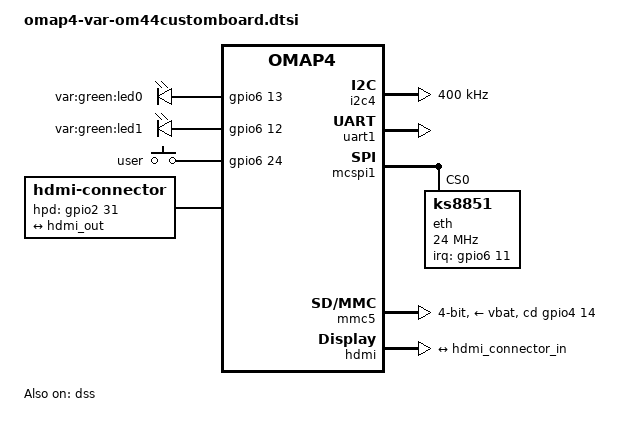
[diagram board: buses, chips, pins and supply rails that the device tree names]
// SPDX-License-Identifier: GPL-2.0-only
/*
 * Copyright (C) 2014 Joachim Eastwood <manabian@gmail.com>
 */

#include <dt-bindings/input/input.h>

/ {
	aliases {
		display0 = &hdmi0;
	};

	leds {
		compatible = "gpio-leds";
		pinctrl-names = "default";
		pinctrl-0 = <&gpio_led_pins>;

		led0 {
			label = "var:green:led0";
			gpios = <&gpio6 13 GPIO_ACTIVE_HIGH>; /* gpio 173 */
			linux,default-trigger = "heartbeat";
		};

		led1 {
			label = "var:green:led1";
			gpios = <&gpio6 12 GPIO_ACTIVE_HIGH>; /* gpio 172 */
		};
	};

	gpio-keys {
		compatible = "gpio-keys";
		pinctrl-names = "default";
		pinctrl-0 = <&gpio_key_pins>;
		#address-cells = <1>;
		#size-cells = <0>;

		user-key@184 {
			label = "user";
			gpios = <&gpio6 24 GPIO_ACTIVE_HIGH>; /* gpio 184 */
			linux,code = <BTN_EXTRA>;
			wakeup-source;
		};
	};

	hdmi0: connector {
		compatible = "hdmi-connector";
		pinctrl-names = "default";
		pinctrl-0 = <&hdmi_hpd_pins>;
		label = "hdmi";
		type = "a";

		hpd-gpios = <&gpio2 31 GPIO_ACTIVE_HIGH>; /* gpio_63 */

		port {
			hdmi_connector_in: endpoint {
				remote-endpoint = <&hdmi_out>;
			};
		};
	};
};

&omap4_pmx_core {
	uart1_pins: uart1-pins {
		pinctrl-single,pins = <
			OMAP4_IOPAD(0x13c, PIN_INPUT_PULLUP | MUX_MODE1)	/* mcspi1_cs2.uart1_cts */
			OMAP4_IOPAD(0x13e, PIN_OUTPUT | MUX_MODE1)		/* mcspi1_cs3.uart1_rts */
			OMAP4_IOPAD(0x126, PIN_INPUT_PULLUP | MUX_MODE1)	/* i2c2_scl.uart1_rx */
			OMAP4_IOPAD(0x128, PIN_OUTPUT | MUX_MODE1)		/* i2c2_sda.uart1_tx */
		>;
	};

	mcspi1_pins: mcspi1-pins {
		pinctrl-single,pins = <
			OMAP4_IOPAD(0x132, PIN_INPUT | MUX_MODE0)		/*  mcspi1_clk.mcspi1_clk */
			OMAP4_IOPAD(0x134, PIN_INPUT | MUX_MODE0)		/*  mcspi1_somi.mcspi1_somi */
			OMAP4_IOPAD(0x136, PIN_INPUT | MUX_MODE0)		/*  mcspi1_simo.mcspi1_simo */
			OMAP4_IOPAD(0x138, PIN_INPUT | MUX_MODE0)		/*  mcspi1_cs0.mcspi1_cs0 */
		>;
	};

	mcasp_pins: mcsasp-pins {
		pinctrl-single,pins = <
			OMAP4_IOPAD(0x0f8, PIN_OUTPUT | MUX_MODE2)		/*  mcbsp2_dr.abe_mcasp_axr */
		>;
	};

	dss_dpi_pins: dss-dpi-pins {
		pinctrl-single,pins = <
			OMAP4_IOPAD(0x162, PIN_OUTPUT | MUX_MODE5)		/* dispc2_data23 */
			OMAP4_IOPAD(0x164, PIN_OUTPUT | MUX_MODE5)		/* dispc2_data22 */
			OMAP4_IOPAD(0x166, PIN_OUTPUT | MUX_MODE5)		/* dispc2_data21 */
			OMAP4_IOPAD(0x168, PIN_OUTPUT | MUX_MODE5)		/* dispc2_data20 */
			OMAP4_IOPAD(0x16a, PIN_OUTPUT | MUX_MODE5)		/* dispc2_data19 */
			OMAP4_IOPAD(0x16c, PIN_OUTPUT | MUX_MODE5)		/* dispc2_data18 */
			OMAP4_IOPAD(0x16e, PIN_OUTPUT | MUX_MODE5)		/* dispc2_data15 */
			OMAP4_IOPAD(0x170, PIN_OUTPUT | MUX_MODE5)		/* dispc2_data14 */
			OMAP4_IOPAD(0x172, PIN_OUTPUT | MUX_MODE5)		/* dispc2_data13 */
			OMAP4_IOPAD(0x174, PIN_OUTPUT | MUX_MODE5)		/* dispc2_data12 */
			OMAP4_IOPAD(0x176, PIN_OUTPUT | MUX_MODE5)		/* dispc2_data11 */
			OMAP4_IOPAD(0x1b4, PIN_OUTPUT | MUX_MODE5)		/* dispc2_data10 */
			OMAP4_IOPAD(0x1b6, PIN_OUTPUT | MUX_MODE5)		/* dispc2_data9 */
			OMAP4_IOPAD(0x1b8, PIN_OUTPUT | MUX_MODE5)		/* dispc2_data16 */
			OMAP4_IOPAD(0x1ba, PIN_OUTPUT | MUX_MODE5)		/* dispc2_data17 */
			OMAP4_IOPAD(0x1bc, PIN_OUTPUT | MUX_MODE5)		/* dispc2_hsync */
			OMAP4_IOPAD(0x1be, PIN_OUTPUT | MUX_MODE5)		/* dispc2_pclk */
			OMAP4_IOPAD(0x1c0, PIN_OUTPUT | MUX_MODE5)		/* dispc2_vsync */
			OMAP4_IOPAD(0x1c2, PIN_OUTPUT | MUX_MODE5)		/* dispc2_de */
			OMAP4_IOPAD(0x1c4, PIN_OUTPUT | MUX_MODE5)		/* dispc2_data8 */
			OMAP4_IOPAD(0x1c6, PIN_OUTPUT | MUX_MODE5)		/* dispc2_data7 */
			OMAP4_IOPAD(0x1c8, PIN_OUTPUT | MUX_MODE5)		/* dispc2_data6 */
			OMAP4_IOPAD(0x1ca, PIN_OUTPUT | MUX_MODE5)		/* dispc2_data5 */
			OMAP4_IOPAD(0x1cc, PIN_OUTPUT | MUX_MODE5)		/* dispc2_data4 */
			OMAP4_IOPAD(0x1ce, PIN_OUTPUT | MUX_MODE5)		/* dispc2_data3 */
			OMAP4_IOPAD(0x1d0, PIN_OUTPUT | MUX_MODE5)		/* dispc2_data2 */
			OMAP4_IOPAD(0x1d2, PIN_OUTPUT | MUX_MODE5)		/* dispc2_data1 */
			OMAP4_IOPAD(0x1d4, PIN_OUTPUT | MUX_MODE5)		/* dispc2_data0 */
		>;
	};

	dss_hdmi_pins: dss-hdmi-pins {
		pinctrl-single,pins = <
			OMAP4_IOPAD(0x09a, PIN_INPUT | MUX_MODE0)		/* hdmi_cec.hdmi_cec */
			OMAP4_IOPAD(0x09c, PIN_INPUT_PULLUP | MUX_MODE0)	/* hdmi_scl.hdmi_scl */
			OMAP4_IOPAD(0x09e, PIN_INPUT_PULLUP | MUX_MODE0)	/* hdmi_sda.hdmi_sda */
		>;
	};

	i2c4_pins: i2c4-pins {
		pinctrl-single,pins = <
			OMAP4_IOPAD(0x12e, PIN_INPUT_PULLUP | MUX_MODE0)	/* i2c4_scl */
			OMAP4_IOPAD(0x130, PIN_INPUT_PULLUP | MUX_MODE0)	/* i2c4_sda */
		>;
	};

	mmc5_pins: mmc5-pins {
		pinctrl-single,pins = <
			OMAP4_IOPAD(0x0f6, PIN_INPUT | MUX_MODE3)		/* abe_mcbsp2_clkx.gpio_110 */
			OMAP4_IOPAD(0x148, PIN_INPUT_PULLUP | MUX_MODE0)	/* sdmmc5_clk.sdmmc5_clk */
			OMAP4_IOPAD(0x14a, PIN_INPUT_PULLUP | MUX_MODE0)	/* sdmmc5_cmd.sdmmc5_cmd */
			OMAP4_IOPAD(0x14c, PIN_INPUT_PULLUP | MUX_MODE0)	/* sdmmc5_dat0.sdmmc5_dat0 */
			OMAP4_IOPAD(0x14e, PIN_INPUT_PULLUP | MUX_MODE0)	/* sdmmc5_dat1.sdmmc5_dat1 */
			OMAP4_IOPAD(0x150, PIN_INPUT_PULLUP | MUX_MODE0)	/* sdmmc5_dat2.sdmmc5_dat2 */
			OMAP4_IOPAD(0x152, PIN_INPUT_PULLUP | MUX_MODE0)	/* sdmmc5_dat3.sdmmc5_dat3 */
		>;
	};

	gpio_led_pins: gpio-led-pins {
		pinctrl-single,pins = <
			OMAP4_IOPAD(0x17e, PIN_OUTPUT | MUX_MODE3)		/* kpd_col4.gpio_172 */
			OMAP4_IOPAD(0x180, PIN_OUTPUT | MUX_MODE3)		/* kpd_col5.gpio_173 */
		>;
	};

	gpio_key_pins: gpio-key-pins {
		pinctrl-single,pins = <
			OMAP4_IOPAD(0x1a2, PIN_INPUT | MUX_MODE3)		/* sys_boot0.gpio_184 */
		>;
	};

	ks8851_irq_pins: ks8851-irq-pins {
		pinctrl-single,pins = <
			OMAP4_IOPAD(0x17c, PIN_INPUT_PULLUP | MUX_MODE3)	/* kpd_col3.gpio_171 */
		>;
	};

	hdmi_hpd_pins: hdmi-hpd-pins {
		pinctrl-single,pins = <
			OMAP4_IOPAD(0x098, PIN_INPUT_PULLDOWN | MUX_MODE3)	/* hdmi_hpd.gpio_63 */
		>;
	};

	backlight_pins: backlight-pins {
		pinctrl-single,pins = <
			OMAP4_IOPAD(0x116, PIN_OUTPUT | MUX_MODE3)		/* abe_dmic_din3.gpio_122 */
		>;
	};
};

&i2c4 {
	pinctrl-names = "default";
	pinctrl-0 = <&i2c4_pins>;
	clock-frequency = <400000>;
	status = "okay";
};

&uart1 {
	pinctrl-names = "default";
	pinctrl-0 = <&uart1_pins>;
	status = "okay";
};

&mcspi1 {
	pinctrl-names = "default";
	pinctrl-0 = <&mcspi1_pins>;
	status = "okay";

	eth@0 {
		compatible = "ks8851";
		pinctrl-names = "default";
		pinctrl-0 = <&ks8851_irq_pins>;
		spi-max-frequency = <24000000>;
		reg = <0>;
		interrupt-parent = <&gpio6>;
		interrupts = <11 IRQ_TYPE_LEVEL_LOW>; /* gpio 171 */
	};
};

&mmc5 {
	pinctrl-names = "default";
	pinctrl-0 = <&mmc5_pins>;
	vmmc-supply = <&vbat>;
	bus-width = <4>;
	cd-gpios = <&gpio4 14 GPIO_ACTIVE_HIGH>; /* gpio 110 */
	status = "okay";
};

&dss {
	status = "okay";
};

&hdmi {
	status = "okay";
	pinctrl-names = "default";
	pinctrl-0 = <&dss_hdmi_pins>;
	vdda-supply = <&vdac>;

	port {
		hdmi_out: endpoint {
			remote-endpoint = <&hdmi_connector_in>;
		};
	};
};
